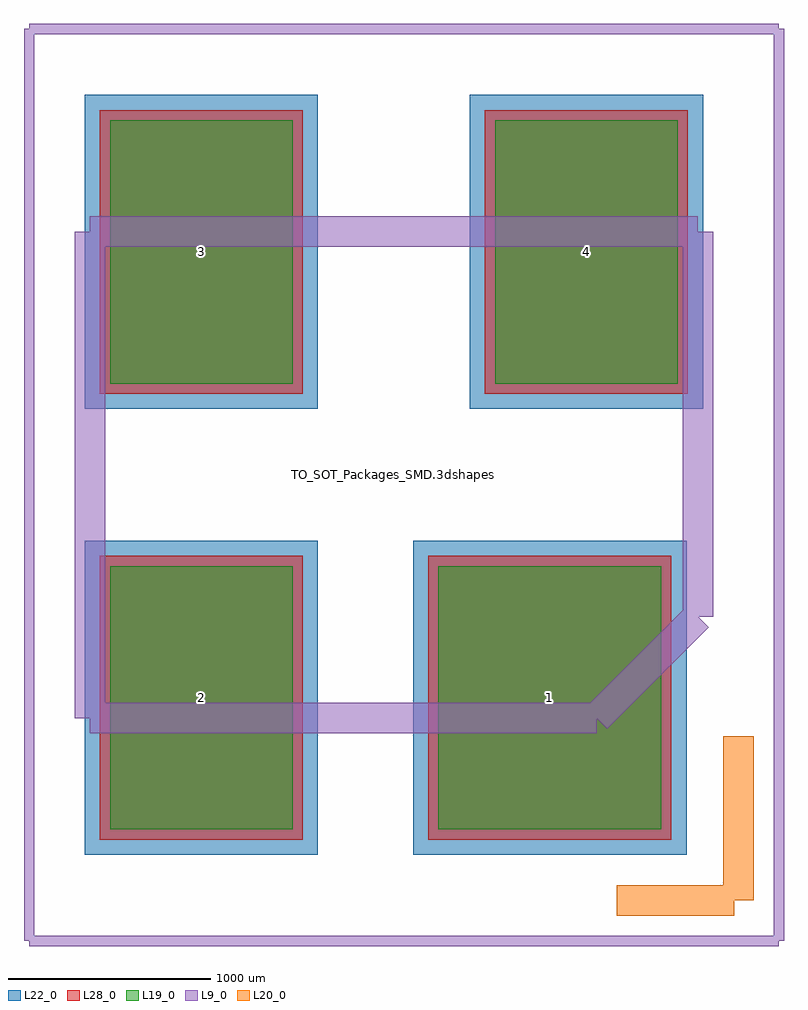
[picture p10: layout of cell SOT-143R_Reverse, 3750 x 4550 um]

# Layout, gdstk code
import gdstk
lib = gdstk.Library(unit=1e-6, precision=1e-09)
def R(c, l, rs):  # rectangles x0, y0, x1, y1
    for r in rs: c.add(gdstk.rectangle(r[:2], r[2:], *l))
L9_0 = (9, 0)
L19_0 = (19, 0)
L20_0 = (20, 0)
L22_0 = (22, 0)
L28_0 = (28, 0)

sot_143r_reverse = lib.new_cell('SOT-143R_Reverse')
R(sot_143r_reverse, L19_0, [(-1400.34,-1749.59,-499.58,-450.05), (220.18,-1749.59,1319.06,-450.05), (-1400.34,450.05,-499.58,1749.59), (499.58,450.05,1400.34,1749.59)])
R(sot_143r_reverse, L22_0, [(-1525.34,-1874.59,-374.58,-325.05), (95.18,-1874.59,1444.06,-325.05), (-1525.34,325.05,-374.58,1874.59), (374.58,325.05,1525.34,1874.59)])
R(sot_143r_reverse, L28_0, [(-1450.34,-1799.59,-449.58,-400.05), (170.18,-1799.59,1369.06,-400.05), (-1450.34,400.05,-449.58,1799.59), (449.58,400.05,1450.34,1799.59)])
sot_143r_reverse.add(gdstk.FlexPath([(1679.12,-2100),(1100,-2100)], 149.998, ends="flush", simple_path=True, layer=20, datatype=0))  # L20_0
sot_143r_reverse.add(gdstk.FlexPath([(1700,-1289.74),(1700,-2100)], 149.998, ends="flush", simple_path=True, layer=20, datatype=0))  # L20_0
sot_143r_reverse.add(gdstk.FlexPath([(-1500,1200),(1500,1200)], 149.998, ends="flush", simple_path=True, layer=9, datatype=0))  # L9_0
sot_143r_reverse.add(gdstk.FlexPath([(1500,1200),(1500,-700)], 149.998, ends="flush", simple_path=True, layer=9, datatype=0))  # L9_0
sot_143r_reverse.add(gdstk.FlexPath([(1000,-1200),(-1500,-1200)], 149.998, ends="flush", simple_path=True, layer=9, datatype=0))  # L9_0
sot_143r_reverse.add(gdstk.FlexPath([(-1500,-1200),(-1500,1200)], 149.998, ends="flush", simple_path=True, layer=9, datatype=0))  # L9_0
sot_143r_reverse.add(gdstk.FlexPath([(1900,-2300),(-1800,-2300)], 50, ends="flush", simple_path=True, layer=9, datatype=0))  # L9_0
sot_143r_reverse.add(gdstk.FlexPath([(-1800,-2300),(-1800,2200)], 50, ends="flush", simple_path=True, layer=9, datatype=0))  # L9_0
sot_143r_reverse.add(gdstk.FlexPath([(-1800,2200),(1900,2200)], 50, ends="flush", simple_path=True, layer=9, datatype=0))  # L9_0
sot_143r_reverse.add(gdstk.FlexPath([(1900,2200),(1900,-2300)], 50, ends="flush", simple_path=True, layer=9, datatype=0))  # L9_0
sot_143r_reverse.add(gdstk.FlexPath([(1500,-700),(1000,-1200)], 149.998, ends="flush", simple_path=True, layer=9, datatype=0))  # L9_0
sot_143r_reverse.add(gdstk.Label('TO_SOT_Packages_SMD.3dshapes/SOT-143R_Reverse.wrl', (0,0), layer=12, texttype=0))
sot_143r_reverse.add(gdstk.Label('3', (-949.96,1099.82), layer=28, texttype=0))
sot_143r_reverse.add(gdstk.Label('4', (949.96,1099.82), layer=28, texttype=0))
sot_143r_reverse.add(gdstk.Label('2', (-949.96,-1099.82), layer=28, texttype=0))
sot_143r_reverse.add(gdstk.Label('1', (769.62,-1099.82), layer=28, texttype=0))
sot_143r_reverse.add(gdstk.Label('type', (0,-3100), layer=9, texttype=0))
sot_143r_reverse.add(gdstk.Label('devicename', (0,2900), layer=9, texttype=0))

lib.write_gds('SOT-143R_Reverse.gds')
